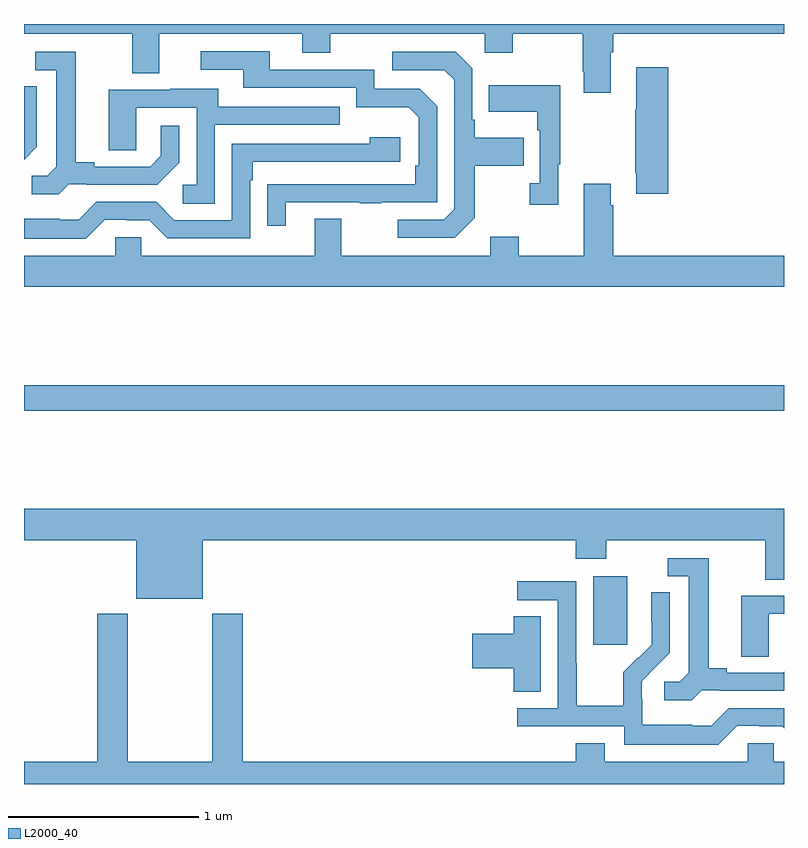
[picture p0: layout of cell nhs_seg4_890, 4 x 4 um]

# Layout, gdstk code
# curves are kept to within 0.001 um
import gdstk
lib = gdstk.Library(unit=1e-6, precision=1e-09)
def R(c, l, rs):  # rectangles x0, y0, x1, y1
    for r in rs: c.add(gdstk.rectangle(r[:2], r[2:], *l))
def P(c, l, *ps):  # polygons
    for p in ps: c.add(gdstk.Polygon(p, *l))
L2000_40 = (2000, 40)

nhs_seg4_890 = lib.new_cell('nhs_seg4_890')
R(nhs_seg4_890, L2000_40, [(159.995,765.633,160.174,765.994), (157,766.864,161,767)])
P(nhs_seg4_890, L2000_40, [(160.087,768.752),(160.1,768.752),(160.1,768.848),(161,768.848),(161,768.9),(157,768.9),(157,768.848),(157.571,768.848),(157.571,768.64),(157.711,768.64),(157.711,768.848),(158.465,768.848),(158.465,768.749),(158.613,768.749),(158.613,768.848),(159.426,768.848),(159.426,768.749),(159.573,768.749),(159.573,768.848),(159.94,768.848),(159.94,768.649),(159.947,768.649),(159.947,768.537),(160.087,768.537)],
  [(158.377,767.961),(158.767,767.961),(158.767,767.956),(158.879,767.956),(158.879,767.961),(159.174,767.961),(159.174,768.468),(159.084,768.558),(158.844,768.558),(158.844,768.66),(158.293,768.66),(158.293,768.756),(157.929,768.756),(157.929,768.66),(158.153,768.66),(158.153,768.564),(158.748,768.564),(158.748,768.461),(159.025,768.461),(159.078,768.408),(159.078,768.154),(159.058,768.154),(159.058,768.057),(158.281,768.056),(158.281,767.838),(158.377,767.838)],
  [(159.373,767.881),(159.373,768.154),(159.629,768.154),(159.629,768.301),(159.373,768.301),(159.373,768.397),(159.36,768.397),(159.36,768.666),(159.273,768.753),(158.937,768.753),(158.937,768.657),(159.213,768.657),(159.264,768.606),(159.264,767.925),(159.21,767.871),(158.967,767.871),(158.967,767.775),(159.267,767.775)],
  [(157.236,768.057),(157.33,768.057),(157.33,768.054),(157.702,768.054),(157.818,768.17),(157.818,768.364),(157.721,768.364),(157.721,768.207),(157.664,768.15),(157.369,768.15),(157.369,768.173),(157.273,768.173),(157.273,768.753),(157.059,768.753),(157.059,768.657),(157.169,768.657),(157.169,768.149),(157.122,768.102),(157.041,768.102),(157.041,768.005),(157.184,768.005)],
  [(160.391,768.673),(160.223,768.673),(160.223,768.449),(160.216,768.449),(160.216,768.118),(160.223,768.118),(160.223,768.006),(160.391,768.006)],
  [(159.811,768.161),(159.823,768.161),(159.823,768.577),(159.445,768.577),(159.445,768.437),(159.702,768.437),(159.702,768.341),(159.714,768.341),(159.714,768.062),(159.663,768.062),(159.663,767.949),(159.811,767.949)],
  [(157.068,768.254),(157.068,768.572),(157,768.572),(157,768.186)],
  [(158.004,768.369),(158.663,768.369),(158.663,768.465),(158.023,768.465),(158.023,768.559),(157.769,768.559),(157.769,768.555),(157.445,768.555),(157.445,768.235),(157.59,768.235),(157.59,768.459),(157.908,768.459),(157.908,768.054),(157.836,768.054),(157.836,767.953),(158.004,767.953)],
  [(157.425,767.871),(157.541,767.871),(157.541,767.868),(157.659,767.868),(157.755,767.772),(158.19,767.772),(158.19,768.077),(158.203,768.077),(158.203,768.174),(158.98,768.174),(158.98,768.304),(158.819,768.304),(158.819,768.27),(158.094,768.27),(158.094,767.868),(157.791,767.868),(157.695,767.964),(157.38,767.964),(157.287,767.871),(157.187,767.871),(157.187,767.875),(157,767.875),(157,767.771),(157.325,767.771)],
  [(161,767.68),(160.1,767.68),(160.1,767.945),(160.087,767.945),(160.087,768.058),(159.947,768.058),(159.947,767.68),(159.603,767.68),(159.603,767.779),(159.455,767.779),(159.455,767.68),(158.671,767.68),(158.671,767.875),(158.531,767.875),(158.531,767.68),(157.617,767.68),(157.617,767.778),(157.479,767.778),(157.479,767.68),(157,767.68),(157,767.516),(161,767.516)],
  [(157.942,766.184),(159.905,766.184),(159.905,766.085),(160.065,766.085),(160.065,766.184),(160.901,766.184),(160.901,765.976),(161,765.976),(161,766.348),(157,766.348),(157,766.184),(157.592,766.184),(157.592,765.875),(157.942,765.875)],
  [(160.566,765.393),(160.66,765.393),(160.66,765.39),(161,765.39),(161,765.492),(160.994,765.486),(160.699,765.486),(160.699,765.509),(160.603,765.509),(160.603,766.089),(160.389,766.089),(160.389,765.993),(160.499,765.993),(160.499,765.485),(160.452,765.438),(160.371,765.438),(160.371,765.341),(160.514,765.341)],
  [(160.755,765.207),(160.871,765.207),(160.871,765.204),(160.989,765.204),(161,765.193),(161,765.3),(160.71,765.3),(160.617,765.207),(160.517,765.207),(160.517,765.211),(160.254,765.211),(160.254,765.345),(160.252,765.345),(160.252,765.442),(160.398,765.59),(160.398,765.908),(160.302,765.908),(160.302,765.754),(160.304,765.754),(160.304,765.632),(160.233,765.561),(160.23,765.564),(160.153,765.487),(160.153,765.313),(159.909,765.313),(159.909,765.536),(159.906,765.536),(159.906,765.966),(159.597,765.966),(159.597,765.867),(159.81,765.867),(159.81,765.3),(159.597,765.3),(159.597,765.204),(160.158,765.204),(160.158,765.107),(160.655,765.107)],
  [(160.92,765.795),(161,765.795),(161,765.891),(160.775,765.891),(160.775,765.571),(160.92,765.571)],
  [(161,765.016),(160.947,765.016),(160.947,765.114),(160.809,765.114),(160.809,765.016),(160.057,765.016),(160.057,765.115),(159.905,765.115),(159.905,765.016),(158.15,765.016),(158.15,765.796),(157.99,765.796),(157.99,765.016),(157.545,765.016),(157.545,765.796),(157.385,765.796),(157.385,765.016),(157,765.016),(157,764.9),(161,764.9)],
  [(159.721,765.782),(159.578,765.782),(159.578,765.692),(159.36,765.692),(159.36,765.509),(159.578,765.509),(159.578,765.385),(159.721,765.385)])

lib.write_gds('nhs_seg4_890.gds')
